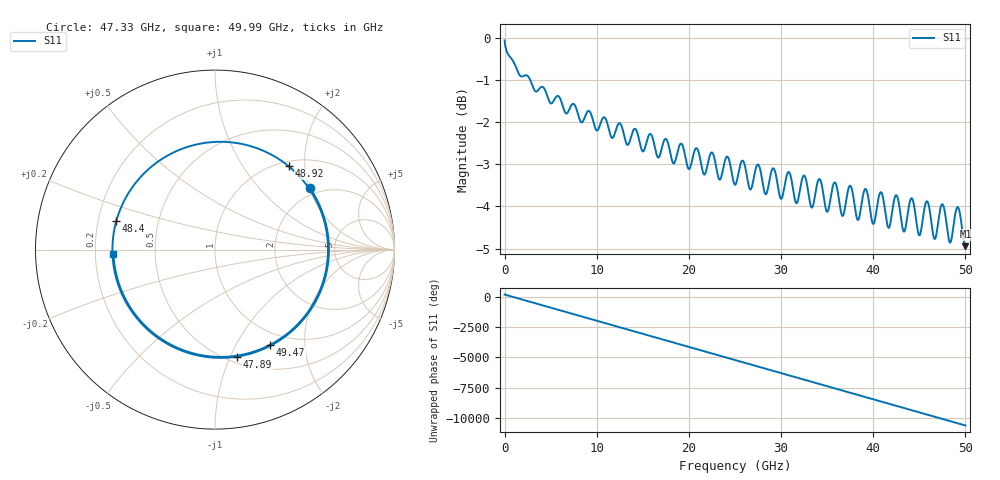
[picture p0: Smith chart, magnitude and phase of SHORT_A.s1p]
! Mesure 1 port : Fixture A synthetique : ligne Zc=55.0 ohm, delai=300 ps, pertes 1.0 dB @10 GHz (~sqrt(f)), eps_r_eff=3.0 -> 51.93 mm, Z0=50 ohm terminee par un SHORT ideal
! Frequency(Hz) Re(S11) Im(S11)
# Hz S RI R 50
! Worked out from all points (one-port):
!   5000 points, 10 MHz to 50 GHz, reference 50 ohm
!   lowest |S11| = -4.9 dB at 50 GHz (marker M1), VSWR 3.61, Z = 13.9 - j5.55e-13 ohm
!   |S11| at or under -10 dB: nowhere
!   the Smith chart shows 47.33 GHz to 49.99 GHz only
!   S11 on the Smith chart (normalised r, x): 47.33 GHz: 1.76, +2.01; 47.89 GHz: 0.56, -1.06; 48.4 GHz: 0.28, +0.13; 48.92 GHz: 1.09, +1.65; 49.47 GHz: 0.82, -1.39; 49.99 GHz: 0.28, -0.02
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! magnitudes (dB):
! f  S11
! 10 MHz  -0.1
! 6.26 GHz  -1.6
! 12.51 GHz  -2.0
! 18.76 GHz  -2.7
! 25.01 GHz  -3.5
! 31.26 GHz  -3.5
! 34.19 GHz  -3.4
! 35.01 GHz  -4.1
! 35.85 GHz  -3.4
! 36.68 GHz  -4.2
! 37.51 GHz  -3.5
! 38.33 GHz  -4.3
! 39.15 GHz  -3.6
! 39.99 GHz  -4.4
! 40.81 GHz  -3.7
! 41.65 GHz  -4.5
! 42.46 GHz  -3.7
! 43.76 GHz  -4.1
! 45.03 GHz  -4.7
! 45.86 GHz  -3.9
! 46.68 GHz  -4.8
! 47.33 GHz  -4.0
! 47.89 GHz  -4.3
! 48.4 GHz  -4.8
! 48.92 GHz  -4.2
! 49.47 GHz  -4.3
! 49.99 GHz  -4.9
! 50 GHz  -4.9
